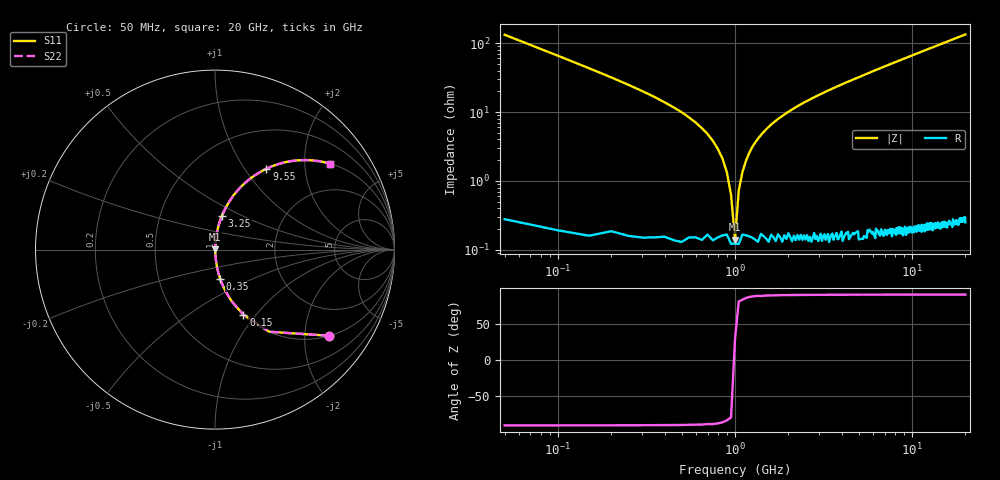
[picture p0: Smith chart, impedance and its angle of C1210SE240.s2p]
! AVX Thin Film Operation		Date: April 2012
! Description: Accu-P® Series, Thin Film, SMD, RF Capacitor
! Part Number: 12101J240FBTTR
!	50	MHz	-	20.05	GHz
!	Serial	Measurements
#	MHZ	S	MA	R	50
!	S11	S21	S12	S22
!	dB	Phase	dB	Phase	dB	Phase	dB	Phase
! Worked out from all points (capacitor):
!   400 points, 50 MHz to 20 GHz, reference 50 ohm
!   read as one part in series: C = 24 pF near 150 MHz
!   lowest |Z| = 140 mohm at 1 GHz (marker M1)
!   series resonance near 995.1 MHz, so ESL is about 1.1 nH
!   S11 on the Smith chart (normalised r, x): 50 MHz: 1.01, -2.65; 150 MHz: 1.00, -0.86; 350 MHz: 1.00, -0.33; 3.25 GHz: 1.00, +0.39; 9.55 GHz: 1.00, +1.27; 20 GHz: 1.00, +2.67
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50  0.797 -37.0  0.602 52.8  0.602 52.8  0.797 -37.0
100  0.548 -56.6  0.835 33.2  0.835 33.2  0.548 -56.6
150  0.396 -66.4  0.917 23.3  0.917 23.3  0.396 -66.4
350  0.164 -80.1  0.985 9.4  0.985 9.4  0.164 -80.1
700  0.048 -85.5  0.997 2.7  0.997 2.7  0.048 -85.5
850  0.021 -84.8  0.998 1.2  0.998 1.2  0.021 -84.8
900  0.013 -83.0  0.998 0.8  0.998 0.8  0.013 -83.0
950  0.006333 -76.3  0.999 0.4  0.999 0.4  0.006333 -76.3
1000  0.001609 24.5  0.999 -0.0  0.999 -0.0  0.001609 24.5
1050  0.007313 78.0  0.999 -0.4  0.999 -0.4  0.007313 78.0
1100  0.013 83.0  0.998 -0.8  0.998 -0.8  0.013 83.0
1250  0.031 85.5  0.998 -1.8  0.998 -1.8  0.031 85.5
1400  0.046 85.5  0.997 -2.7  0.997 -2.7  0.046 85.5
2050  0.104 83.2  0.993 -6.0  0.993 -6.0  0.104 83.2
3250  0.193 78.4  0.98 -11.1  0.98 -11.1  0.193 78.4
3400  0.204 77.8  0.978 -11.7  0.978 -11.7  0.204 77.8
6700  0.401 66.1  0.914 -23.7  0.914 -23.7  0.401 66.1
9550  0.534 57.5  0.844 -32.3  0.844 -32.3  0.534 57.5
10050  0.554 56.2  0.831 -33.6  0.831 -33.6  0.554 56.2
13350  0.664 48.3  0.746 -41.6  0.746 -41.6  0.664 48.3
16700  0.744 41.8  0.667 -48.0  0.667 -48.0  0.744 41.8
20000  0.8 36.8  0.599 -53.1  0.599 -53.1  0.8 36.8
